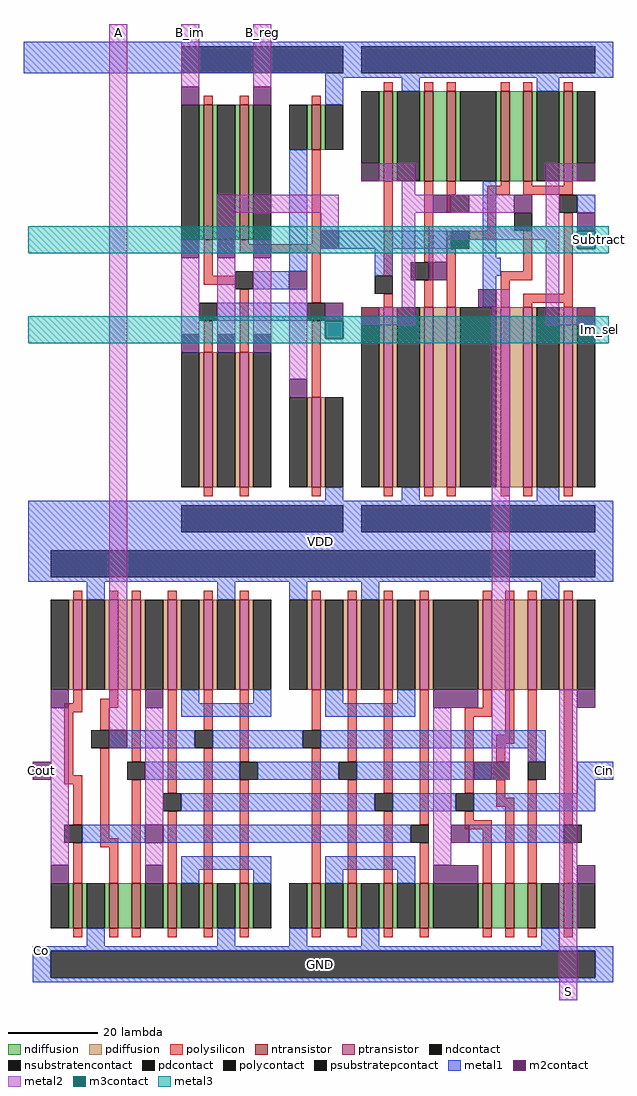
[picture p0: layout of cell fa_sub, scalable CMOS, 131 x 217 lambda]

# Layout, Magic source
magic
tech scmos
<< metal1 >>
rect -2 262 129 269
rect 68 223 76 227
rect -1 149 129 167
<< m2contact >>
rect 33 255 37 259
rect 49 255 53 259
rect 121 227 125 231
rect 64 223 68 227
rect 65 207 69 211
rect 99 210 103 214
rect 17 112 21 116
rect 98 105 102 109
<< metal2 >>
rect 17 116 21 273
rect 33 259 37 273
rect 49 259 53 273
rect 41 231 68 235
rect 41 224 45 231
rect 64 227 68 231
rect 103 210 106 214
rect 102 105 106 210
rect 117 56 121 102
<< m3contact >>
rect 121 223 125 227
rect 65 203 69 207
<< metal3 >>
rect -1 227 128 228
rect -1 223 121 227
rect 125 223 128 227
rect -1 222 128 223
rect -1 207 128 208
rect -1 203 65 207
rect 69 203 128 207
rect -1 202 128 203
use mux21  mux21_0
transform 1 0 41 0 -1 200
box -12 -69 32 41
use xor2  xor2_0
transform 1 0 56 0 -1 264
box 13 -5 73 105
use fa  fa_0
transform 1 0 21 0 1 53
box -21 7 108 104
<< labels >>
rlabel metal3 126 225 126 225 0 Subtract
rlabel space 2 67 2 67 0 Co
rlabel metal1 64 158 64 158 0 VDD
rlabel space 64 64 64 64 0 GND
rlabel metal2 35 271 35 271 1 B_im
rlabel metal2 19 271 19 271 1 A
rlabel space 127 107 127 107 3 Cin
rlabel space 2 107 2 107 7 Cout
rlabel metal2 119 58 119 58 5 S
rlabel metal2 51 271 51 271 1 B_reg
rlabel metal3 126 205 126 205 3 Im_sel
<< end >>

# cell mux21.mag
magic
tech scmos
<< ntransistor >>
rect -3 -55 -1 -25
rect 5 -55 7 -25
rect 21 -55 23 -45
<< ptransistor >>
rect -3 0 -1 30
rect 5 0 7 30
rect 21 10 23 30
<< ndiffusion >>
rect -4 -55 -3 -25
rect -1 -55 0 -25
rect 4 -55 5 -25
rect 7 -55 8 -25
rect 20 -55 21 -45
rect 23 -55 24 -45
<< pdiffusion >>
rect -4 0 -3 30
rect -1 0 0 30
rect 4 0 5 30
rect 7 0 8 30
rect 20 10 21 30
rect 23 10 24 30
<< ndcontact >>
rect -8 -55 -4 -25
rect 0 -55 4 -25
rect 8 -55 12 -25
rect 16 -55 20 -45
rect 24 -55 28 -45
<< pdcontact >>
rect -8 0 -4 30
rect 0 0 4 30
rect 8 0 12 30
rect 16 10 20 30
rect 24 10 28 30
<< psubstratepcontact >>
rect -8 -68 28 -62
<< nsubstratencontact >>
rect -8 34 28 40
<< polysilicon >>
rect -3 30 -1 32
rect 5 30 7 32
rect 21 30 23 32
rect -3 -7 -1 0
rect 5 -14 7 0
rect 21 -7 23 10
rect -3 -17 4 -15
rect -3 -25 -1 -17
rect 21 -22 23 -11
rect 5 -24 23 -22
rect 5 -25 7 -24
rect 21 -45 23 -24
rect -3 -57 -1 -55
rect 5 -57 7 -55
rect 21 -57 23 -55
<< polycontact >>
rect -4 -11 0 -7
rect 20 -11 24 -7
rect 4 -18 8 -14
<< metal1 >>
rect -12 40 32 41
rect -12 34 -8 40
rect 28 34 32 40
rect -12 33 32 34
rect 24 30 28 33
rect 0 -11 20 -7
rect 8 -18 16 -14
rect 16 -45 20 -18
rect 24 -62 28 -55
rect -12 -68 -8 -62
rect 28 -68 32 -62
rect -12 -69 32 -68
<< m2contact >>
rect -8 -4 -4 0
rect 0 -4 4 0
rect 16 6 20 10
rect 8 -4 12 0
rect 16 -18 20 -14
rect -8 -25 -4 -21
rect 0 -25 4 -21
rect 8 -25 12 -21
<< metal2 >>
rect -8 -21 -4 -4
rect 0 -21 4 -4
rect 8 -21 12 -4
rect 16 -14 20 6
<< labels >>
rlabel psubstratepcontact 10 -65 10 -65 0 GND
rlabel nsubstratencontact 10 37 10 37 0 VDD
rlabel metal1 14 -9 14 -9 0 S
rlabel metal2 10 -13 10 -13 0 B
rlabel metal2 -6 -14 -6 -14 0 A
rlabel metal2 2 -13 2 -13 0 OUT
<< end >>

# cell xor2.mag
magic
tech scmos
<< ntransistor >>
rect 22 6 24 26
rect 31 6 33 26
rect 36 6 38 26
rect 48 6 50 26
rect 53 6 55 26
rect 62 6 64 26
<< ptransistor >>
rect 22 54 24 94
rect 31 54 33 94
rect 36 54 38 94
rect 48 54 50 94
rect 53 54 55 94
rect 62 54 64 94
<< ndiffusion >>
rect 17 22 22 26
rect 21 6 22 22
rect 24 6 25 26
rect 30 6 31 26
rect 33 6 36 26
rect 38 6 39 26
rect 47 6 48 26
rect 50 6 53 26
rect 55 6 56 26
rect 61 6 62 26
rect 64 22 69 26
rect 64 6 65 22
<< pdiffusion >>
rect 21 58 22 94
rect 17 54 22 58
rect 24 54 25 94
rect 30 54 31 94
rect 33 54 36 94
rect 38 54 39 94
rect 47 54 48 94
rect 50 54 53 94
rect 55 54 56 94
rect 61 54 62 94
rect 64 58 65 94
rect 64 54 69 58
<< ndcontact >>
rect 17 6 21 22
rect 25 6 30 26
rect 39 6 47 26
rect 56 6 61 26
rect 65 6 69 22
<< pdcontact >>
rect 17 58 21 94
rect 25 54 30 94
rect 39 54 47 94
rect 56 54 61 94
rect 65 58 69 94
<< psubstratepcontact >>
rect 17 -4 69 2
<< nsubstratencontact >>
rect 17 98 69 104
<< polysilicon >>
rect 22 94 24 96
rect 31 94 33 96
rect 36 94 38 96
rect 48 94 50 96
rect 53 94 55 96
rect 62 94 64 96
rect 22 51 24 54
rect 31 48 33 54
rect 22 26 24 47
rect 32 44 33 48
rect 31 26 33 44
rect 36 41 38 54
rect 48 48 50 54
rect 53 53 55 54
rect 62 53 64 54
rect 53 51 64 53
rect 48 46 55 48
rect 36 37 37 41
rect 41 37 47 39
rect 53 37 55 46
rect 36 29 37 33
rect 45 29 47 37
rect 62 33 64 51
rect 36 26 38 29
rect 45 27 50 29
rect 48 26 50 27
rect 53 27 64 29
rect 53 26 55 27
rect 62 26 64 27
rect 22 4 24 6
rect 31 4 33 6
rect 36 4 38 6
rect 48 4 50 6
rect 53 4 55 6
rect 62 4 64 6
<< polycontact >>
rect 20 47 24 51
rect 28 44 32 48
rect 37 37 41 41
rect 37 29 41 33
rect 51 33 55 37
rect 61 29 65 33
<< metal1 >>
rect 13 104 73 105
rect 13 98 17 104
rect 69 98 73 104
rect 13 97 73 98
rect 26 94 30 97
rect 56 94 61 97
rect 20 41 24 47
rect 44 47 47 54
rect 44 43 48 47
rect 20 37 37 41
rect 44 26 47 43
rect 65 29 69 33
rect 26 3 30 6
rect 56 3 61 6
rect 13 2 73 3
rect 13 -4 17 2
rect 69 -4 73 2
rect 13 -5 73 -4
<< m2contact >>
rect 17 54 21 58
rect 65 54 69 58
rect 32 44 36 48
rect 33 29 37 33
rect 51 29 55 33
rect 17 22 21 26
rect 65 22 69 26
<< metal2 >>
rect 21 54 29 58
rect 26 33 29 54
rect 58 54 65 58
rect 32 39 36 44
rect 58 39 61 54
rect 32 36 61 39
rect 26 29 33 33
rect 37 29 51 33
rect 26 26 29 29
rect 21 22 29 26
rect 58 26 61 36
rect 58 22 65 26
<< labels >>
rlabel metal1 22 39 22 39 0 A
rlabel metal1 67 31 67 31 1 B
rlabel metal1 46 45 46 45 0 Y
rlabel psubstratepcontact 19 0 19 0 0 GND
rlabel nsubstratencontact 20 101 20 101 0 VDD
<< end >>

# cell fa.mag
magic
tech scmos
<< ntransistor >>
rect -12 19 -10 29
rect -4 19 -2 29
rect 1 19 3 29
rect 9 19 11 29
rect 17 19 19 29
rect 25 19 27 29
rect 41 19 43 29
rect 49 19 51 29
rect 57 19 59 29
rect 65 19 67 29
rect 79 19 81 29
rect 84 19 86 29
rect 89 19 91 29
rect 97 19 99 29
<< ptransistor >>
rect -12 72 -10 92
rect -4 72 -2 92
rect 1 72 3 92
rect 9 72 11 92
rect 17 72 19 92
rect 25 72 27 92
rect 41 72 43 92
rect 49 72 51 92
rect 57 72 59 92
rect 65 72 67 92
rect 79 72 81 92
rect 84 72 86 92
rect 89 72 91 92
rect 97 72 99 92
<< ndiffusion >>
rect -13 19 -12 29
rect -10 19 -9 29
rect -5 19 -4 29
rect -2 19 1 29
rect 3 19 4 29
rect 8 19 9 29
rect 11 19 12 29
rect 16 19 17 29
rect 19 19 20 29
rect 24 19 25 29
rect 27 19 28 29
rect 40 19 41 29
rect 43 19 44 29
rect 48 19 49 29
rect 51 19 52 29
rect 56 19 57 29
rect 59 19 60 29
rect 64 19 65 29
rect 67 19 68 29
rect 78 19 79 29
rect 81 19 84 29
rect 86 19 89 29
rect 91 19 92 29
rect 96 19 97 29
rect 99 19 100 29
<< pdiffusion >>
rect -13 72 -12 92
rect -10 72 -9 92
rect -5 72 -4 92
rect -2 72 1 92
rect 3 72 4 92
rect 8 72 9 92
rect 11 72 12 92
rect 16 72 17 92
rect 19 72 20 92
rect 24 72 25 92
rect 27 72 28 92
rect 40 72 41 92
rect 43 72 44 92
rect 48 72 49 92
rect 51 72 52 92
rect 56 72 57 92
rect 59 72 60 92
rect 64 72 65 92
rect 67 72 68 92
rect 78 72 79 92
rect 81 72 84 92
rect 86 72 89 92
rect 91 72 92 92
rect 96 72 97 92
rect 99 72 100 92
<< ndcontact >>
rect -17 19 -13 29
rect -9 19 -5 29
rect 4 19 8 29
rect 12 19 16 29
rect 20 19 24 29
rect 28 19 32 29
rect 36 19 40 29
rect 44 19 48 29
rect 52 19 56 29
rect 60 19 64 29
rect 68 19 78 29
rect 92 19 96 29
rect 100 19 104 29
<< pdcontact >>
rect -17 72 -13 92
rect -9 72 -5 92
rect 4 72 8 92
rect 12 72 16 92
rect 20 72 24 92
rect 28 72 32 92
rect 36 72 40 92
rect 44 72 48 92
rect 52 72 56 92
rect 60 72 64 92
rect 68 72 78 92
rect 92 72 96 92
rect 100 72 104 92
<< psubstratepcontact >>
rect -17 8 104 14
<< nsubstratencontact >>
rect -17 97 104 103
<< polysilicon >>
rect -12 92 -10 94
rect -4 92 -2 94
rect 1 92 3 94
rect 9 92 11 94
rect 17 92 19 94
rect 25 92 27 94
rect 41 92 43 94
rect 49 92 51 94
rect 57 92 59 94
rect 65 92 67 94
rect 79 92 81 94
rect 84 92 86 94
rect 89 92 91 94
rect 97 92 99 94
rect -12 69 -10 72
rect -4 70 -2 72
rect -14 67 -10 69
rect -6 68 -2 70
rect -14 53 -12 67
rect -6 63 -4 68
rect -14 51 -10 53
rect -12 42 -10 51
rect -12 29 -10 38
rect -6 39 -4 59
rect 1 56 3 72
rect -6 37 -2 39
rect -4 29 -2 37
rect 1 29 3 52
rect 9 49 11 72
rect 17 63 19 72
rect 9 29 11 45
rect 17 29 19 59
rect 25 56 27 72
rect 41 63 43 72
rect 25 29 27 52
rect 41 29 43 59
rect 49 56 51 72
rect 49 29 51 52
rect 57 49 59 72
rect 57 29 59 45
rect 65 42 67 72
rect 79 68 81 72
rect 75 66 81 68
rect 75 49 77 66
rect 84 62 86 72
rect 82 60 86 62
rect 82 56 84 60
rect 89 56 91 72
rect 82 48 84 52
rect 82 46 86 48
rect 75 43 77 45
rect 75 41 81 43
rect 65 29 67 38
rect 79 29 81 41
rect 84 29 86 46
rect 89 29 91 52
rect 97 42 99 72
rect 97 29 99 38
rect -12 17 -10 19
rect -4 17 -2 19
rect 1 17 3 19
rect 9 17 11 19
rect 17 17 19 19
rect 25 17 27 19
rect 41 17 43 19
rect 49 17 51 19
rect 57 17 59 19
rect 65 17 67 19
rect 79 17 81 19
rect 84 17 86 19
rect 89 17 91 19
rect 97 17 99 19
<< polycontact >>
rect -8 59 -4 63
rect -14 38 -10 42
rect 0 52 4 56
rect 15 59 19 63
rect 8 45 12 49
rect 39 59 43 63
rect 25 52 29 56
rect 47 52 51 56
rect 55 45 59 49
rect 81 52 85 56
rect 89 52 93 56
rect 73 45 77 49
rect 63 38 67 42
rect 97 38 101 42
<< metal1 >>
rect -21 103 108 104
rect -21 97 -17 103
rect 104 97 108 103
rect -21 96 108 97
rect -9 92 -5 96
rect 20 92 24 96
rect 36 92 40 96
rect 52 92 56 96
rect 92 92 96 96
rect 12 69 16 72
rect 28 69 32 72
rect 12 66 32 69
rect 44 69 48 72
rect 60 69 64 72
rect 44 66 64 69
rect -4 59 15 63
rect 19 59 39 63
rect 43 59 93 63
rect 89 56 93 59
rect 4 52 25 56
rect 29 52 47 56
rect 51 52 81 56
rect 100 52 108 56
rect 100 49 104 52
rect 12 45 55 49
rect 59 45 73 49
rect 77 45 104 49
rect -10 38 4 42
rect 8 38 63 42
rect 76 38 97 42
rect 12 32 32 35
rect 12 29 16 32
rect 28 29 32 32
rect 44 32 64 35
rect 44 29 48 32
rect 60 29 64 32
rect -9 15 -5 19
rect 20 15 24 19
rect 36 15 40 19
rect 52 15 56 19
rect 92 15 96 19
rect -21 14 108 15
rect -21 8 -17 14
rect 104 8 108 14
rect -21 7 108 8
<< m2contact >>
rect -17 68 -13 72
rect 4 68 8 72
rect 68 68 78 72
rect 100 68 104 72
rect -21 52 -17 56
rect 4 38 8 42
rect 72 38 76 42
rect -17 29 -13 33
rect 4 29 8 33
rect 68 29 78 33
rect 100 29 104 33
<< metal2 >>
rect -17 33 -13 68
rect 4 42 8 68
rect 4 33 8 38
rect 68 33 72 68
rect 96 29 100 72
<< labels >>
rlabel nsubstratencontact 42 100 42 100 0 VDD
rlabel m2contact 102 31 102 31 0 S
rlabel metal2 -15 54 -15 54 0 Co
rlabel metal1 38 54 38 54 0 B
rlabel metal1 31 61 31 61 0 A
rlabel metal1 106 54 106 54 0 Ci
rlabel psubstratepcontact 43 10 43 10 0 GND
<< end >>
